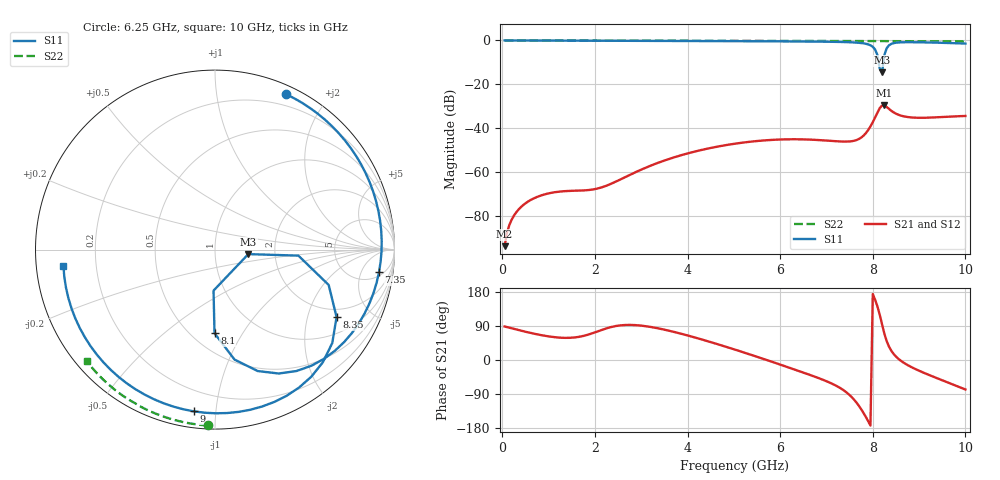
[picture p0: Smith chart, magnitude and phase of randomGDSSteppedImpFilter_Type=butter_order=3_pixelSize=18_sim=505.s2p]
! freq	dB(S11)	phase(S11)	dB(S12)	phase(S12)
!  dB(S21)	phase(S21)	dB(S22)	phase(S22)
!S-par simulation data
#  GHz  S  DB  R 50
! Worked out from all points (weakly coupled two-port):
!   200 points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, 50 MHz to 10 GHz, reference 50 ohm
!   highest |S21| = -29.64 dB at 8.25 GHz (marker M1); lowest = -93.8 dB at 50 MHz (marker M2)
!   lowest |S11| = -14.5 dB at 8.2 GHz (marker M3), VSWR 1.46, Z = 72.7 - j3.79 ohm
!   |S11| at or under -10 dB: 8.127 GHz to 8.229 GHz (101.5 MHz wide, 1.24 % of centre)
!   |S22| runs from -0.5 to 0.0 dB; largest |S21 - S12| = 0
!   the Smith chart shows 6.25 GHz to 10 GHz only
!   S11 on the Smith chart (normalised r, x): 6.25 GHz: 0.08, +1.55; 7.35 GHz: 6, -11; 8.1 GHz: 0.64, -0.76; 8.35 GHz: 1.63, -3.06; 9 GHz: 0.08, -0.87; 10 GHz: 0.08, -0.05
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0.05  -0.00 -2.4  -93.77 88.4  -93.77 88.4  -0.00 -0.8
0.25  -0.02 -12.0  -79.90 82.2  -79.90 82.2  -0.01 -4.0
0.85  -0.05 -40.3  -70.57 65.4  -70.57 65.4  -0.02 -13.6
1.75  -0.10 -81.2  -68.37 63.5  -68.37 63.5  -0.04 -27.7
2.55  -0.14 -115.8  -63.36 91.4  -63.36 91.4  -0.05 -40.0
3.4  -0.18 -151.9  -55.49 82.7  -55.49 82.7  -0.07 -52.8
4.25  -0.23 171.0  -50.17 56.2  -50.17 56.2  -0.09 -65.1
5.05  -0.30 132.7  -46.98 26.4  -46.98 26.4  -0.12 -76.3
5.7  -0.36 98.0  -45.49 0.4  -45.49 0.4  -0.14 -85.1
6.25  -0.43 65.5  -45.04 -22.6  -45.04 -22.6  -0.17 -92.3
6.7  -0.50 36.8  -45.25 -41.8  -45.25 -41.8  -0.19 -98.2
7.35  -0.70 -7.9  -46.09 -78.1  -46.09 -78.1  -0.23 -106.4
7.9  -1.78 -56.1  -40.87 -161.3  -40.87 -161.3  -0.27 -113.3
8.1  -6.63 -90.3  -32.83 141.5  -32.83 141.5  -0.29 -115.9
8.15  -12.82 -92.0  -30.84 119.4  -30.84 119.4  -0.30 -116.5
8.2  -14.55 -7.7  -29.68 94.0  -29.68 94.0  -0.31 -117.1
8.25  -6.63 -4.1  -29.64 69.5  -29.64 69.5  -0.31 -117.7
8.35  -2.22 -29.0  -31.22 35.4  -31.22 35.4  -0.32 -118.8
8.6  -0.85 -63.9  -34.21 -1.4  -34.21 -1.4  -0.33 -121.9
9  -0.83 -97.4  -35.25 -28.4  -35.25 -28.4  -0.37 -126.8
9.55  -1.10 -138.4  -34.83 -56.0  -34.83 -56.0  -0.42 -133.5
10  -1.42 -173.9  -34.43 -77.8  -34.43 -77.8  -0.47 -138.9
